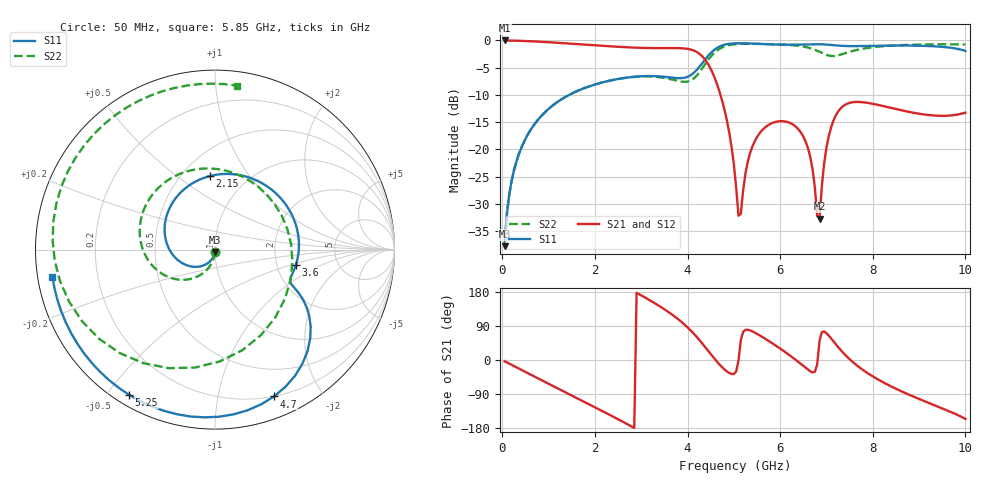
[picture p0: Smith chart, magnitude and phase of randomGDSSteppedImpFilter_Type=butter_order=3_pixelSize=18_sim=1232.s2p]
! freq	dB(S11)	phase(S11)	dB(S12)	phase(S12)
!  dB(S21)	phase(S21)	dB(S22)	phase(S22)
!S-par simulation data
#  GHz  S  DB  R 50
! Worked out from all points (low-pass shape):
!   200 points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, 50 MHz to 10 GHz, reference 50 ohm
!   highest |S21| = -0.01 dB at 50 MHz (marker M1); lowest = -32.7 dB at 6.85 GHz (marker M2)
!   |S21| within 3 dB of the highest: start of sweep to 4.327 GHz
!   lowest |S11| = -37.8 dB at 50 MHz (marker M3), VSWR 1.03, Z = 49.9 - j1.29 ohm
!   |S11| at or under -10 dB: start of sweep to 1.445 GHz
!   |S22| runs from -37.7 to -0.6 dB; largest |S21 - S12| = 0
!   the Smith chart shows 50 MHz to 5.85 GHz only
!   S11 on the Smith chart (normalised r, x): 50 MHz: 1.00, -0.03; 2.15 GHz: 0.68, +0.67; 3.6 GHz: 2.56, -0.54; 4.7 GHz: 0.20, -1.46; 5.25 GHz: 0.04, -0.57; 5.85 GHz: 0.04, -0.08
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0.05  -37.77 -93.6  -0.01 -3.2  -0.01 -3.2  -37.75 -91.7
0.5  -18.09 -131.4  -0.11 -31.6  -0.11 -31.6  -18.06 -112.7
1.75  -8.83 126.6  -0.75 -109.2  -0.75 -109.2  -8.82 -166.4
2.15  -7.73 94.2  -0.98 -134.1  -0.98 -134.1  -7.73 176.3
3.4  -6.60 0.9  -1.42 141.7  -1.42 141.7  -6.76 102.8
3.6  -6.77 -10.5  -1.41 125.6  -1.41 125.6  -7.05 82.4
4.2  -5.40 -28.0  -2.13 60.7  -2.13 60.7  -6.44 -34.9
4.45  -2.78 -43.0  -4.43 23.1  -4.43 23.1  -3.52 -99.6
4.7  -1.09 -68.1  -9.67 -13.2  -9.67 -13.2  -1.50 -151.7
5.05  -0.52 -102.8  -26.99 -30.4  -26.99 -30.4  -0.68 157.7
5.15  -0.52 -111.9  -31.85 52.0  -31.85 52.0  -0.63 146.5
5.25  -0.54 -120.6  -24.47 79.6  -24.47 79.6  -0.61 136.2
5.85  -0.74 -170.6  -15.10 42.6  -15.10 42.6  -0.71 82.4
6.3  -0.78 151.8  -15.58 3.8  -15.58 3.8  -0.90 38.3
6.7  -0.71 117.0  -23.64 -32.6  -23.64 -32.6  -1.55 -22.7
6.85  -0.70 103.6  -32.70 50.2  -32.70 50.2  -2.09 -57.6
7.05  -0.80 86.0  -17.56 64.3  -17.56 64.3  -2.78 -116.4
7.3  -0.98 65.7  -12.53 27.3  -12.53 27.3  -2.63 172.0
7.7  -1.04 36.5  -11.29 -18.5  -11.29 -18.5  -1.66 102.7
8.35  -0.95 -5.7  -12.30 -66.9  -12.30 -66.9  -0.99 46.7
9.3  -1.07 -59.0  -13.77 -117.7  -13.77 -117.7  -0.72 -2.3
10  -1.93 -106.2  -13.27 -155.3  -13.27 -155.3  -0.75 -29.7
